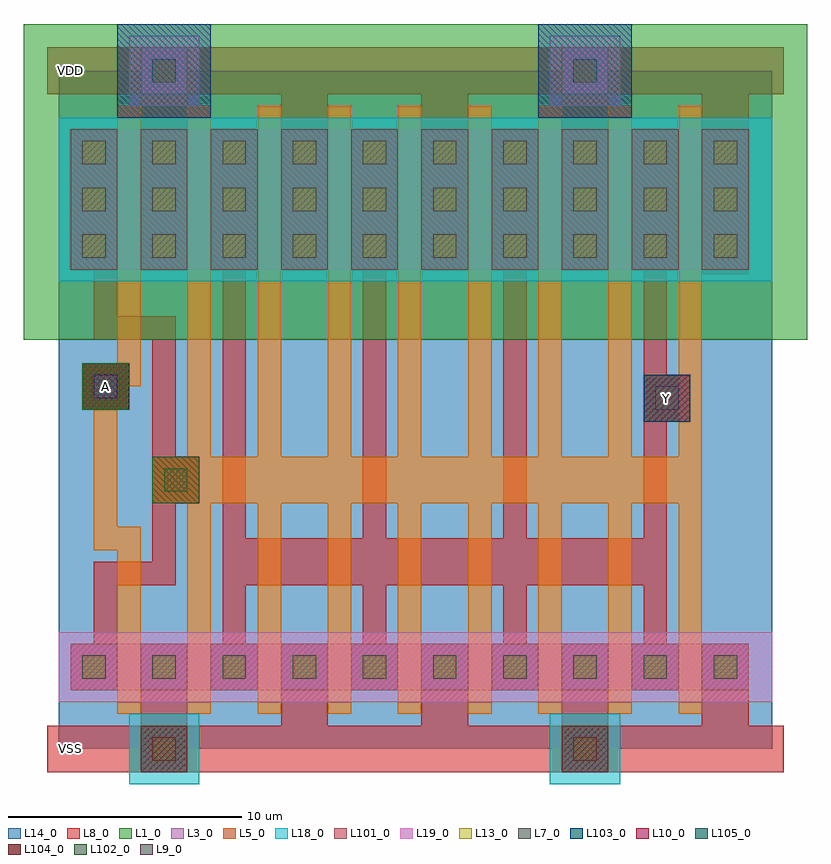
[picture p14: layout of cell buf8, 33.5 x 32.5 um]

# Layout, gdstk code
import gdstk
lib = gdstk.Library(unit=1e-6, precision=1e-09)
def R(c, l, rs):  # rectangles x0, y0, x1, y1
    for r in rs: c.add(gdstk.rectangle(r[:2], r[2:], *l))
L1_0 = (1, 0)
L3_0 = (3, 0)
L5_0 = (5, 0)
L7_0 = (7, 0)
L8_0 = (8, 0)
L9_0 = (9, 0)
L10_0 = (10, 0)
L13_0 = (13, 0)
L14_0 = (14, 0)
L18_0 = (18, 0)
L19_0 = (19, 0)
L101_0 = (101, 0)
L102_0 = (102, 0)
L103_0 = (103, 0)
L104_0 = (104, 0)
L105_0 = (105, 0)

dcont = lib.new_cell('dcont')
R(dcont, L3_0, [(-1,-1,1,1)])
R(dcont, L7_0, [(-0.5,-0.5,0.5,0.5)])
R(dcont, L8_0, [(-1,-1,1,1)])
R(dcont, L13_0, [(-0.5,-0.5,0.5,0.5)])
R(dcont, L101_0, [(-1,-1,1,1)])
dcont.add(gdstk.Label('dcont', (0,0), layer=13, texttype=0))

psubcont = lib.new_cell('psubcont')
R(psubcont, L18_0, [(-1.5,-1.5,1.5,1.5)])
R(psubcont, L104_0, [(-1,-1,1,1)])
psubcont.add(gdstk.Reference(dcont, (0,0)))
psubcont.add(gdstk.Label('PScon', (0,0), layer=13, texttype=0))

via = lib.new_cell('Via')
R(via, L8_0, [(-1,-1,1,1)])
R(via, L9_0, [(-0.5,-0.5,0.5,0.5)])
R(via, L10_0, [(-1,-1,1,1)])
R(via, L13_0, [(-0.5,-0.5,0.5,0.5)])
R(via, L105_0, [(-1,-1,1,1)])
via.add(gdstk.Label('via', (0,0), layer=13, texttype=0))

pcont = lib.new_cell('pcont')
R(pcont, L5_0, [(-1,-1,1,1)])
R(pcont, L7_0, [(-0.5,-0.5,0.5,0.5)])
R(pcont, L8_0, [(-1,-1,1,1)])
R(pcont, L102_0, [(-1,-1,1,1)])
pcont.add(gdstk.Label('pcont', (0,0), layer=13, texttype=0))

nsubcont = lib.new_cell('nsubcont')
R(nsubcont, L1_0, [(-2,-2,2,2)])
R(nsubcont, L19_0, [(-1.5,-1.5,1.5,1.5)])
R(nsubcont, L103_0, [(-2,-2,2,2)])
nsubcont.add(gdstk.Reference(dcont, (0,0)))
nsubcont.add(gdstk.Label('NScont', (0,0), layer=13, texttype=0))

buf8 = lib.new_cell('buf8')
R(buf8, L1_0, [(-1.5,17.5,32,31)])
R(buf8, L3_0, [(0.5,2.5,29.5,4.5), (0.5,20.5,29.5,26.5)])
R(buf8, L8_0, [(-0.5,-1,31,1), (-0.5,-1,31,1), (25,14,27,16), (25,14,27,16), (1,14.5,3,16.5), (1,14.5,3,16.5), (-0.5,28,31,30), (-0.5,28,31,30)])
R(buf8, L10_0, [(25,14,27,16), (25,14,27,16), (1,14.5,3,16.5), (1,14.5,3,16.5)])
R(buf8, L14_0, [(0,0,30.5,29)])
R(buf8, L18_0, [(0,20,30.5,27)])
R(buf8, L19_0, [(0,2,30.5,5)])
R(buf8, L105_0, [(25,14,27,16), (1,14.5,3,16.5)])
buf8.add(gdstk.FlexPath([(3,2),(3,9),(2,9),(2,16),(3,16),(3,27)], 1, ends="extended", simple_path=True, layer=5, datatype=0))  # L5_0
buf8.add(gdstk.FlexPath([(6,2),(6,27)], 1, ends="extended", simple_path=True, layer=5, datatype=0))  # L5_0
buf8.add(gdstk.FlexPath([(9,27),(9,2)], 1, ends="extended", simple_path=True, layer=5, datatype=0))  # L5_0
buf8.add(gdstk.FlexPath([(12,2),(12,27)], 1, ends="extended", simple_path=True, layer=5, datatype=0))  # L5_0
buf8.add(gdstk.FlexPath([(15,27),(15,2)], 1, ends="extended", simple_path=True, layer=5, datatype=0))  # L5_0
buf8.add(gdstk.FlexPath([(6,12),(27,12)], 1, ends="extended", simple_path=True, layer=5, datatype=0))  # L5_0
buf8.add(gdstk.FlexPath([(6,11),(27,11)], 1, ends="extended", simple_path=True, layer=5, datatype=0))  # L5_0
buf8.add(gdstk.FlexPath([(18,2),(18,27)], 1, ends="extended", simple_path=True, layer=5, datatype=0))  # L5_0
buf8.add(gdstk.FlexPath([(21,27),(21,2)], 1, ends="extended", simple_path=True, layer=5, datatype=0))  # L5_0
buf8.add(gdstk.FlexPath([(24,2),(24,27)], 1, ends="extended", simple_path=True, layer=5, datatype=0))  # L5_0
buf8.add(gdstk.FlexPath([(27,27),(27,2)], 1, ends="extended", simple_path=True, layer=5, datatype=0))  # L5_0
buf8.add(gdstk.FlexPath([(13.5,21.5),(13.5,25.5)], 1.4, ends="extended", simple_path=True, layer=8, datatype=0))  # L8_0
buf8.add(gdstk.FlexPath([(1.5,22.3),(1.5,25.5)], 1.4, ends="extended", simple_path=True, layer=8, datatype=0))  # L8_0
buf8.add(gdstk.FlexPath([(2,20.5),(2,18),(4.5,18),(4.5,7.5),(2,7.5),(2,3.5)], 1, ends="extended", simple_path=True, layer=8, datatype=0))  # L8_0
buf8.add(gdstk.FlexPath([(4.5,21.5),(4.5,28.5)], 2, ends="extended", simple_path=True, layer=8, datatype=0))  # L8_0
buf8.add(gdstk.FlexPath([(4.5,0.5),(4.5,3.5)], 2, ends="extended", simple_path=True, layer=8, datatype=0))  # L8_0
buf8.add(gdstk.FlexPath([(7.5,21.5),(7.5,25.5)], 1.4, ends="extended", simple_path=True, layer=8, datatype=0))  # L8_0
buf8.add(gdstk.FlexPath([(7.5,4),(7.5,20.5)], 1, ends="extended", simple_path=True, layer=8, datatype=0))  # L8_0
buf8.add(gdstk.FlexPath([(10.5,0.5),(10.5,3.5)], 2, ends="extended", simple_path=True, layer=8, datatype=0))  # L8_0
buf8.add(gdstk.FlexPath([(10.5,21.5),(10.5,28.5)], 2, ends="extended", simple_path=True, layer=8, datatype=0))  # L8_0
buf8.add(gdstk.FlexPath([(10.5,22.3),(10.5,25.5)], 1.4, ends="extended", simple_path=True, layer=8, datatype=0))  # L8_0
buf8.add(gdstk.FlexPath([(13.5,3.9),(13.5,20.5)], 1, ends="extended", simple_path=True, layer=8, datatype=0))  # L8_0
buf8.add(gdstk.FlexPath([(16.5,21.6),(16.5,28.5)], 2, ends="extended", simple_path=True, layer=8, datatype=0))  # L8_0
buf8.add(gdstk.FlexPath([(16.5,0.5),(16.5,3.5)], 2, ends="extended", simple_path=True, layer=8, datatype=0))  # L8_0
buf8.add(gdstk.FlexPath([(7.5,7.5),(25.5,7.5)], 1, ends="extended", simple_path=True, layer=8, datatype=0))  # L8_0
buf8.add(gdstk.FlexPath([(7.5,8.5),(25.5,8.5)], 1, ends="extended", simple_path=True, layer=8, datatype=0))  # L8_0
buf8.add(gdstk.FlexPath([(19.5,21.5),(19.5,25.5)], 1.4, ends="extended", simple_path=True, layer=8, datatype=0))  # L8_0
buf8.add(gdstk.FlexPath([(19.5,3.9),(19.5,20.5)], 1, ends="extended", simple_path=True, layer=8, datatype=0))  # L8_0
buf8.add(gdstk.FlexPath([(22.5,22.3),(22.5,25.5)], 1.4, ends="extended", simple_path=True, layer=8, datatype=0))  # L8_0
buf8.add(gdstk.FlexPath([(22.5,21.5),(22.5,28.5)], 2, ends="extended", simple_path=True, layer=8, datatype=0))  # L8_0
buf8.add(gdstk.FlexPath([(22.5,0.5),(22.5,3.5)], 2, ends="extended", simple_path=True, layer=8, datatype=0))  # L8_0
buf8.add(gdstk.FlexPath([(25.5,22.3),(25.5,25.5)], 1.4, ends="extended", simple_path=True, layer=8, datatype=0))  # L8_0
buf8.add(gdstk.FlexPath([(25.5,3.9),(25.5,20.5)], 1, ends="extended", simple_path=True, layer=8, datatype=0))  # L8_0
buf8.add(gdstk.FlexPath([(28.5,21.3),(28.5,28.5)], 2, ends="extended", simple_path=True, layer=8, datatype=0))  # L8_0
buf8.add(gdstk.FlexPath([(28.5,0.5),(28.5,3.5)], 2, ends="extended", simple_path=True, layer=8, datatype=0))  # L8_0
buf8.add(gdstk.Reference(dcont, (1.5,25.5)))
buf8.add(gdstk.Reference(dcont, (22.5,21.5)))
buf8.add(gdstk.Reference(dcont, (19.5,21.5)))
buf8.add(gdstk.Reference(dcont, (25.5,21.5)))
buf8.add(gdstk.Reference(dcont, (10.5,25.5)))
buf8.add(gdstk.Reference(dcont, (28.5,23.5)))
buf8.add(gdstk.Reference(dcont, (19.5,3.5)))
buf8.add(gdstk.Reference(dcont, (10.5,23.5)))
buf8.add(gdstk.Reference(dcont, (7.5,25.5)))
buf8.add(gdstk.Reference(dcont, (25.5,3.5)))
buf8.add(gdstk.Reference(dcont, (4.5,25.5)))
buf8.add(gdstk.Reference(dcont, (4.5,23.5)))
buf8.add(gdstk.Reference(dcont, (10.5,3.5)))
buf8.add(gdstk.Reference(dcont, (16.5,3.5)))
buf8.add(gdstk.Reference(psubcont, (4.5,0)))
buf8.add(gdstk.Reference(dcont, (28.5,21.5)))
buf8.add(gdstk.Reference(dcont, (22.5,25.5)))
buf8.add(gdstk.Reference(dcont, (7.5,3.5)))
buf8.add(gdstk.Reference(dcont, (13.5,21.5)))
buf8.add(gdstk.Reference(via, (26,15)))
buf8.add(gdstk.Reference(dcont, (19.5,23.5)))
buf8.add(gdstk.Reference(dcont, (25.5,23.5)))
buf8.add(gdstk.Reference(dcont, (13.5,3.5)))
buf8.add(gdstk.Reference(dcont, (16.5,21.5)))
buf8.add(gdstk.Reference(dcont, (19.5,25.5)))
buf8.add(gdstk.Reference(dcont, (1.5,23.5)))
buf8.add(gdstk.Reference(pcont, (5,11.5)))
buf8.add(gdstk.Reference(dcont, (28.5,3.5)))
buf8.add(gdstk.Reference(dcont, (1.5,21.5)))
buf8.add(gdstk.Reference(dcont, (4.5,3.5)))
buf8.add(gdstk.Reference(dcont, (1.5,3.5)))
buf8.add(gdstk.Reference(dcont, (7.5,23.5)))
buf8.add(gdstk.Reference(dcont, (7.5,21.5)))
buf8.add(gdstk.Reference(dcont, (10.5,21.5)))
buf8.add(gdstk.Reference(dcont, (13.5,23.5)))
buf8.add(gdstk.Reference(nsubcont, (22.5,29)))
buf8.add(gdstk.Reference(nsubcont, (4.5,29)))
buf8.add(gdstk.Reference(dcont, (4.5,21.5)))
buf8.add(gdstk.Reference(dcont, (16.5,25.5)))
buf8.add(gdstk.Reference(dcont, (16.5,23.5)))
buf8.add(gdstk.Reference(dcont, (22.5,3.5)))
buf8.add(gdstk.Reference(dcont, (28.5,25.5)))
buf8.add(gdstk.Reference(dcont, (25.5,25.5)))
buf8.add(gdstk.Reference(via, (2,15.5)))
buf8.add(gdstk.Reference(dcont, (13.5,25.5)))
buf8.add(gdstk.Reference(dcont, (22.5,23.5)))
buf8.add(gdstk.Reference(psubcont, (22.5,0)))
buf8.add(gdstk.Reference(pcont, (2,15.5)))
buf8.add(gdstk.Label('VDD', (0.5,29), layer=8, texttype=0))
buf8.add(gdstk.Label('VSS', (0.5,0), layer=8, texttype=0))
buf8.add(gdstk.Label('A', (2,15.5), layer=10, texttype=0))
buf8.add(gdstk.Label('Y', (26,15), layer=10, texttype=0))
buf8.add(gdstk.Label('via', (26,15), layer=13, texttype=0))
buf8.add(gdstk.Label('via', (2,15.5), layer=13, texttype=0))

lib.write_gds('buf8.gds')
